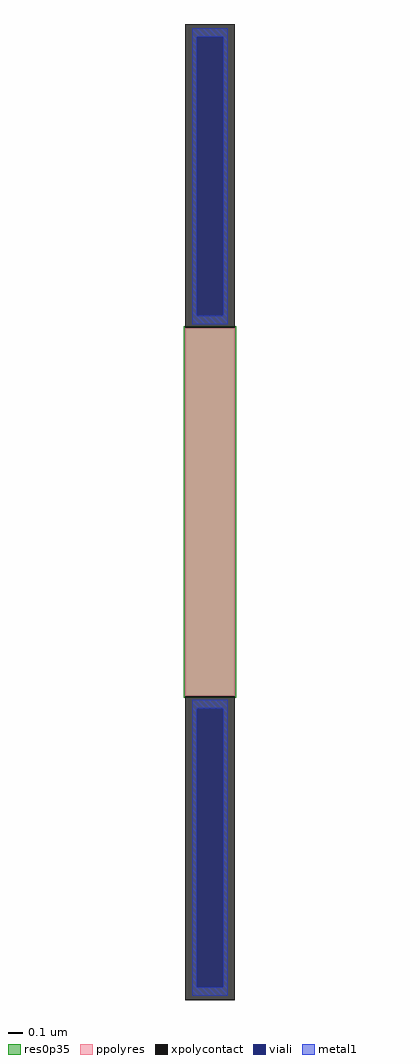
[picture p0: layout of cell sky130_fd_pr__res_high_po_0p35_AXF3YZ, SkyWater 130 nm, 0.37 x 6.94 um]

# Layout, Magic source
magic
tech sky130A
magscale 1 2
<< xpolycontact >>
rect -35 262 35 694
rect -35 -694 35 -262
<< ppolyres >>
rect -35 -262 35 262
<< viali >>
rect -19 279 19 676
rect -19 -676 19 -279
<< metal1 >>
rect -25 676 25 688
rect -25 279 -19 676
rect 19 279 25 676
rect -25 267 25 279
rect -25 -279 25 -267
rect -25 -676 -19 -279
rect 19 -676 25 -279
rect -25 -688 25 -676
<< res0p35 >>
rect -37 -264 37 264
<< properties >>
string gencell sky130_fd_pr__res_high_po_0p35
string parameters w 0.350 l 2.62 m 1 nx 1 wmin 0.350 lmin 0.50 rho 319.8 val 2.503k dummy 0 dw 0.0 term 19.188 sterm 0.0 caplen 0 guard 0 glc 0 grc 0 gtc 0 gbc 0 compatible {sky130_fd_pr__res_high_po_0p35  sky130_fd_pr__res_high_po_0p69 sky130_fd_pr__res_high_po_1p41  sky130_fd_pr__res_high_po_2p85 sky130_fd_pr__res_high_po_5p73} full_metal 0 wmax 0.350 vias 1 viagb 0 viagt 0 viagl 0 viagr 0
string library sky130
<< end >>
